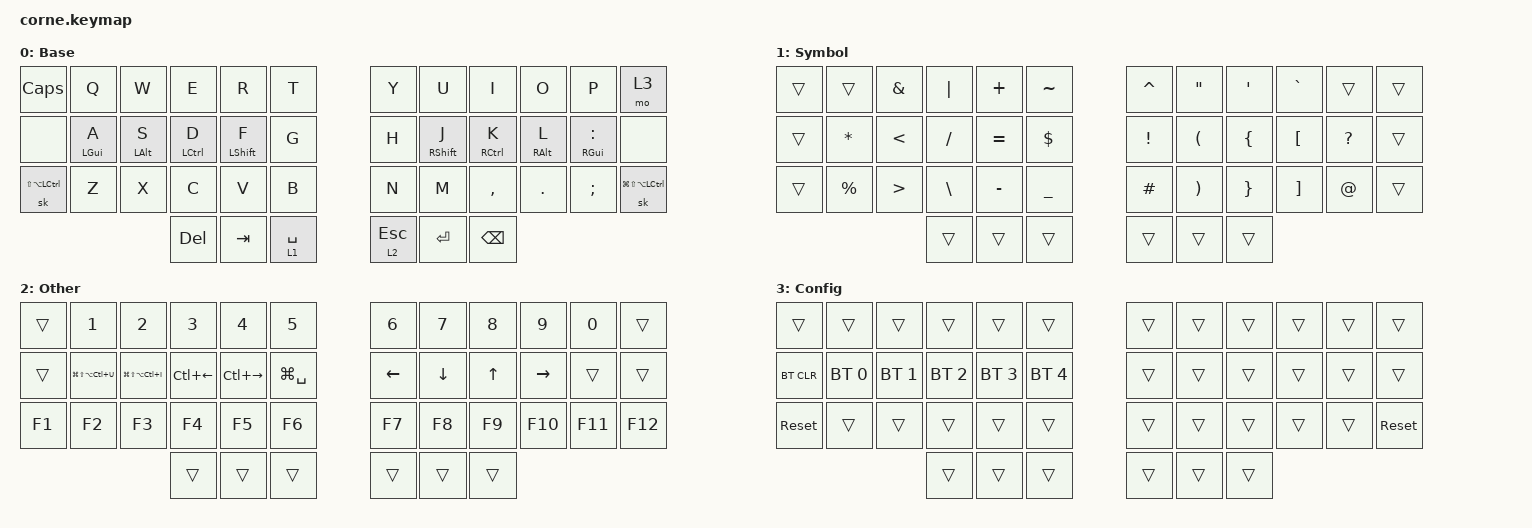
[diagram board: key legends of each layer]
/*
 * Copyright (c) 2020 The ZMK Contributors
 *
 * SPDX-License-Identifier: MIT
 */

#include <behaviors.dtsi>
#include <dt-bindings/zmk/keys.h>
#include <dt-bindings/zmk/bt.h>

/ {
        behaviors {
                hm: homerow_mods {
                        compatible = "zmk,behavior-hold-tap";
                        #binding-cells = <2>;
                        flavor = "balanced";
                        tapping-term-ms = <280>;
                        quick-tap-ms = <175>;
                        require-prior-idle-ms = <150>;
                        bindings = <&kp>, <&kp>;
                };
        };

        keymap {
                compatible = "zmk,keymap";
                default_layer {
// -----------------------------------------------------------------------------------------
// |      |  Q  |  W  |  E  |  R  |  T  |   |  Y  |  U  |  I  |  O  |  P  | TOG4 |
// |      |CMDA |ALTS |CTLD |SHFF |  G  |   |  H  |SHFJ |CTLK |ALTL |CMD: |      |
// | SKMEH|  Z  |  X  |  C  |  V  |  B  |   |  N  |  M  |  ,  |  .  |  ;  | SKSUP|
//                    | DEL | TAB |SPCL2|   |ESCL1| ENT |BCKS |
                        display-name = "Base";
                        bindings = <
   &kp CAPS           &kp Q &kp W &kp E &kp R &kp T   &kp Y &kp U  &kp I     &kp O   &kp P     &mo 3 
   &none              &hm LGUI A &hm LALT S &hm LCTRL D &hm LSHFT F &kp G   &kp H &hm RSHFT J &hm RCTRL K &hm RALT L &hm RGUI COLON &none 
   &sk LS(LA(LCTRL))  &kp Z &kp X &kp C &kp V &kp B   &kp N &kp M  &kp COMMA &kp DOT &kp SEMI  &sk LG(LS(LA(LCTRL)))
                  &kp DEL &kp TAB &lt 1 SPACE   &lt 2 ESC &kp RET &kp BSPC
                        >;
                };
                lower_layer {
// -----------------------------------------------------------------------------------------
// |      |     |  &  |  |  |  +  |  ~  |   |  ^  |  "  |  '  |  `  |     |      |
// |      |  *  |  <  |  /  |  =  |  $  |   |  !  |  (  |  {  |  [  |  ?  |      |
// |      |  %  |  >  |  \  |  -  |  _  |   |  #  |  )  |  }  |  ]  |  @  |      |
//                    |     |     |     |   |     |     |     |
                        display-name = "Symbol";
                        bindings = <
   &trans     &trans       &kp AMPS  &kp PIPE   &kp PLUS   &kp TILDE    &kp CARET &kp DQT  &kp APOS &kp GRAVE &trans    &trans
   &trans     &kp STAR     &kp LT    &kp FSLH   &kp EQUAL  &kp DLLR     &kp EXCL  &kp LPAR &kp LBRC &kp LBKT  &kp QMARK &trans
   &trans     &kp PRCNT    &kp GT    &kp BSLH   &kp MINUS  &kp UNDER    &kp HASH  &kp RPAR &kp RBRC &kp RBKT  &kp AT    &trans
                          	         &trans     &trans     &trans       &trans    &trans   &trans
                        >;
                };
                raise_layer {
// -----------------------------------------------------------------------------------------
// |      |  1  |  2  |  3  |  4  |  5  |   |  6  |  7  |  8  |  9  |  0  |      |
// |      |     |     |     |     |     |   | LFT | DWN |  UP | RGT |     |      |
// |      |     |     |     |     |     |   |     |     |     |     |     |      |
//                    |     |     |     |   |     |     |     |
                        display-name = "Other";
                        bindings = <
   &trans  &kp N1   &kp N2  &kp N3   &kp N4   &kp N5                                               &kp N6   &kp N7   &kp N8   &kp N9    &kp N0  &trans
   &trans  &kp LG(LS(LA(LC(U)))) &kp LG(LS(LA(LC(I)))) &kp LC(LEFT)   &kp LC(RIGHT) &kp LG(SPACE)  &kp LEFT &kp DOWN &kp UP   &kp RIGHT &trans  &trans
   &kp F1  &kp F2 &kp F3 &kp F4 &kp F5 &kp F6                                                      &kp F7   &kp F8   &kp F9   &kp F10   &kp F11 &kp F12
                    	      &trans   &trans   &trans                                               &trans   &trans   &trans
                        >;
                };
                config_layer {
// -----------------------------------------------------------------------------------------
// |      |     |     |     |     |     |   |     |     |     |     |     |      |
// | BTCLR| BT1 | BT2 | BT3 | BT4 | BT5 |   |     |     |     |     |     |      |
// | SYSR |     |     |     |     |     |   |     |     |     |     |     | SYSR |
//                    |     |     |     |   |     |     |     |
                        display-name = "Config";
                        bindings = <
   &trans     &trans       &trans       &trans       &trans       &trans            &trans   &trans   &trans  &trans    &trans  &trans
   &bt BT_CLR &bt BT_SEL 0 &bt BT_SEL 1 &bt BT_SEL 2 &bt BT_SEL 3 &bt BT_SEL 4      &trans   &trans   &trans  &trans    &trans  &trans
   &sys_reset &trans       &trans      &trans        &trans       &trans            &trans   &trans   &trans  &trans    &trans  &sys_reset
                    	                 &trans        &trans       &trans            &trans   &trans   &trans
                        >;
                };
        };
};
